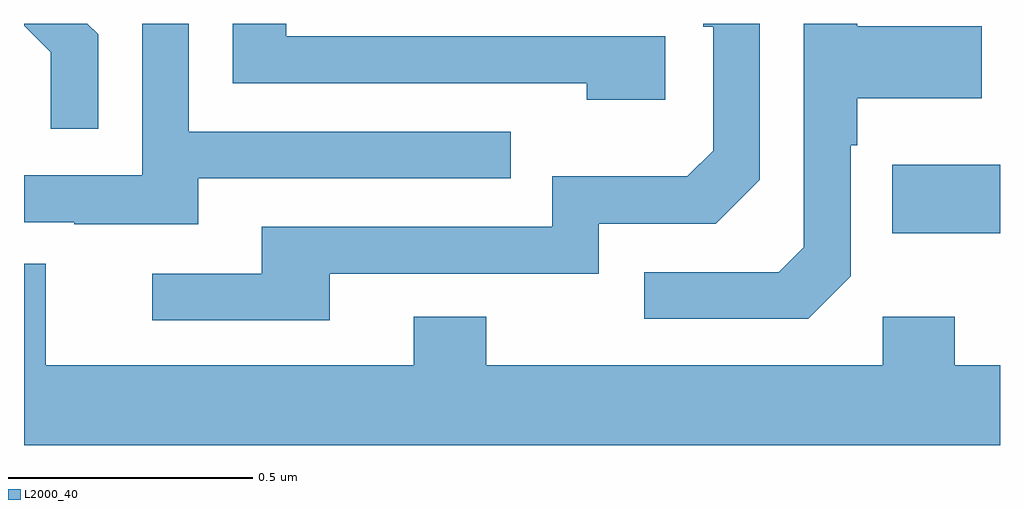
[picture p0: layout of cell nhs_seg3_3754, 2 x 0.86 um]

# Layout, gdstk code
import gdstk
lib = gdstk.Library(unit=1e-6, precision=1e-09)
def R(c, l, rs):  # rectangles x0, y0, x1, y1
    for r in rs: c.add(gdstk.rectangle(r[:2], r[2:], *l))
def P(c, l, *ps):  # polygons
    for p in ps: c.add(gdstk.Polygon(p, *l))
L2000_40 = (2000, 40)

nhs_seg3_3754 = lib.new_cell('nhs_seg3_3754')
R(nhs_seg3_3754, L2000_40, [(158.779,747.971,159,748.111)])
P(nhs_seg3_3754, L2000_40, [(158.314,748.374),(157.537,748.374),(157.537,748.4),(157.428,748.4),(157.428,748.278),(158.153,748.278),(158.153,748.244),(158.314,748.244)],
  [(157.357,748.083),(157.997,748.083),(157.997,748.179),(157.338,748.179),(157.338,748.4),(157.242,748.4),(157.242,748.089),(157,748.089),(157,747.993),(157.103,747.993),(157.103,747.989),(157.357,747.989)],
  [(157.152,748.378),(157.13,748.4),(157,748.4),(157,748.396),(157.055,748.341),(157.055,748.185),(157.152,748.185)],
  [(157.627,747.888),(158.178,747.888),(158.178,747.99),(158.418,747.99),(158.508,748.08),(158.508,748.4),(158.392,748.4),(158.392,748.394),(158.412,748.394),(158.412,748.14),(158.359,748.087),(158.082,748.087),(158.082,747.984),(157.487,747.984),(157.487,747.888),(157.263,747.888),(157.263,747.792),(157.627,747.792)],
  [(158.694,747.882),(158.694,748.151),(158.707,748.151),(158.707,748.247),(158.963,748.247),(158.963,748.395),(158.707,748.395),(158.707,748.4),(158.598,748.4),(158.598,747.942),(158.547,747.891),(158.271,747.891),(158.271,747.795),(158.607,747.795)],
  [(157,747.908),(157,747.536),(159,747.536),(159,747.7),(158.907,747.7),(158.907,747.799),(158.76,747.799),(158.76,747.7),(157.947,747.7),(157.947,747.799),(157.799,747.799),(157.799,747.7),(157.045,747.7),(157.045,747.908)])

lib.write_gds('nhs_seg3_3754.gds')
